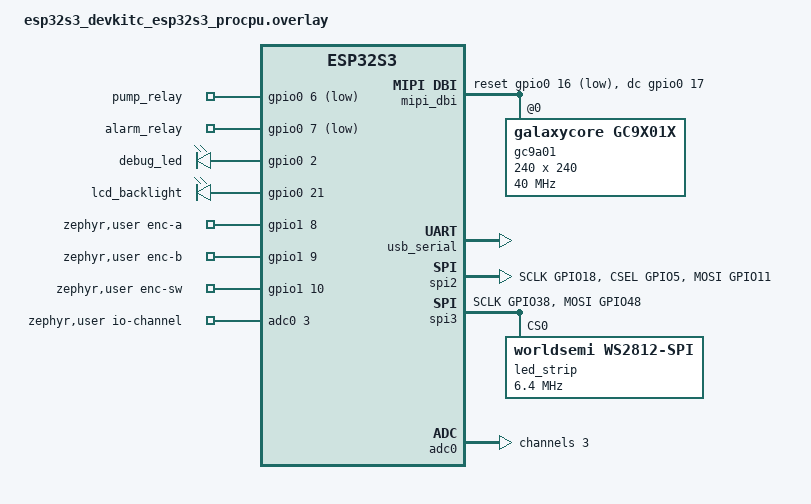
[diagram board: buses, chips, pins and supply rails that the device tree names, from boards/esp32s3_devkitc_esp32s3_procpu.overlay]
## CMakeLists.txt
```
# CNC Vacuum Pump Controller — Zephyr application
# Build against your existing workspace at /Users/robert/Documents/dev-env/zephyresp32s3
#
#   cd /Users/robert/Documents/dev-env/zephyresp32s3
#   source .venv/bin/activate
#   west build -b esp32s3_devkitc/esp32s3/procpu /Users/robert/Documents/shop-dev/shop-tools/CNC_Vac_Pump/zephyr
#
cmake_minimum_required(VERSION 3.20.0)

find_package(Zephyr REQUIRED HINTS $ENV{ZEPHYR_BASE})
project(cnc_vac_pump)

target_sources(app PRIVATE
  src/main.c
  src/vac_filter.c
  src/encoder.c
)

# --- SquareLine UI (LVGL 9 re-export) -------------------------------------
# After you re-export source/SquareLine_VacDisp for LVGL 9 into src/ui/,
# uncomment the two lines below and replace ui_placeholder() in main.c with
# ui_init().
#
# file(GLOB_RECURSE UI_SOURCES ${CMAKE_CURRENT_SOURCE_DIR}/src/ui/*.c)
# target_sources(app PRIVATE ${UI_SOURCES})
```

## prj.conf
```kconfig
# ---- CNC Vacuum Pump Controller :: Zephyr 4.4 / LVGL 9.5 ----
# NOTE: Zephyr Kconfig int/string values must NOT have trailing inline comments.

# Peripherals
CONFIG_GPIO=y
CONFIG_ADC=y
CONFIG_SPI=y

# Console over the built-in USB-Serial-JTAG (single native-USB cable)
CONFIG_SERIAL=y
CONFIG_SERIAL_ESP32_USB=y
CONFIG_CONSOLE=y
CONFIG_UART_CONSOLE=y

# Display stack: GC9A01 over MIPI-DBI-SPI
CONFIG_DISPLAY=y
CONFIG_MIPI_DBI=y
CONFIG_GC9X01X=y

# Onboard RGB LED (WS2812 on GPIO48) as a visible heartbeat
CONFIG_LED_STRIP=y
CONFIG_WS2812_STRIP_SPI=y

# N16R8 module: 16 MB flash
CONFIG_ESPTOOLPY_FLASHSIZE_16MB=y

# LVGL (Zephyr module, LVGL 9.x)
CONFIG_LVGL=y
CONFIG_LV_USE_LOG=n
CONFIG_LV_COLOR_DEPTH_16=y
# LVGL heap ~ the old lv_conf.h LV_MEM_SIZE (64 KiB)
CONFIG_LV_Z_MEM_POOL_SIZE=65536
CONFIG_LV_Z_FLUSH_THREAD=y
CONFIG_LV_USE_LABEL=y
CONFIG_LV_FONT_MONTSERRAT_14=y
# big vacuum-value readout (placeholder UI)
CONFIG_LV_FONT_MONTSERRAT_28=y

# Kernel
CONFIG_MAIN_STACK_SIZE=8192
CONFIG_HEAP_MEM_POOL_SIZE=49152
CONFIG_PRINTK=y
CONFIG_LOG=y
```

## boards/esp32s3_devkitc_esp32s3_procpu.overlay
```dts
/*
 * CNC Vacuum Pump Controller — ESP32-S3 board overlay
 *
 * Pin choices avoid the two ESP32-S3 traps that kill the original classic-ESP32
 * wiring:
 *   - GPIO22..25 DO NOT EXIST on the S3  (originally MOSI=23, encoder-B=25)
 *   - GPIO26..37 are the in-package flash/PSRAM bus on WROOM-1 modules
 *     (originally pump=26, encoder-A=32, encoder-SW=27)
 * See zephyr/README.md for the full classic -> S3 pin remap table.
 *
 * Display node models the in-tree waveshare/esp32s3_touch_lcd_1_28 board, which
 * uses the SAME GC9A01 panel over the MIPI-DBI-SPI abstraction.
 */

#include <zephyr/dt-bindings/gpio/gpio.h>
#include <zephyr/dt-bindings/adc/adc.h>
#include <zephyr/dt-bindings/display/panel.h>
#include <zephyr/dt-bindings/led/led.h>
#include <zephyr/dt-bindings/pinctrl/esp32s3-pinctrl.h>

/ {
	aliases {
		vac-pump  = &pump_relay;
		vac-alarm = &alarm_relay;
		debug-led = &debug_led;
		lcd-bl    = &lcd_backlight;
		led-strip = &led_strip;
	};

	chosen {
		zephyr,display = &gc9a01;
		/* Console on the built-in USB-Serial-JTAG so ONE native-USB cable
		 * (/dev/cu.usbmodemXXXX) carries `west flash`, `west espressif monitor`,
		 * and the console. Delete these two lines to use the DevKitC "UART" port
		 * (CP2102 -> UART0) instead. */
		zephyr,console = &usb_serial;
		zephyr,shell-uart = &usb_serial;
	};

	/* Relays are active-low (matches enum relayType{ On=0, Off=1 }). */
	relays {
		compatible = "gpio-leds";
		pump_relay:  pump  { gpios = <&gpio0 6 GPIO_ACTIVE_LOW>; };   /* was GPIO26 */
		alarm_relay: alarm { gpios = <&gpio0 7 GPIO_ACTIVE_LOW>; };   /* was GPIO21 (clashed w/ BL) */
	};

	indicators {
		compatible = "gpio-leds";
		debug_led:     dbg { gpios = <&gpio0 2  GPIO_ACTIVE_HIGH>; };
		lcd_backlight: bl  { gpios = <&gpio0 21 GPIO_ACTIVE_HIGH>; };
	};

	/* Rotary encoder + ADC channel handle for the app (polled in encoder.c). */
	zephyr,user {
		io-channels  = <&adc0 3>;                             /* GPIO4 = ADC1_CH3 */
		enc-a-gpios  = <&gpio1 8  GPIO_PULL_UP>;              /* GPIO40, was 32 */
		enc-b-gpios  = <&gpio1 9  GPIO_PULL_UP>;              /* GPIO41, was 25 */
		enc-sw-gpios = <&gpio1 10 GPIO_PULL_UP>;             /* GPIO42, was 27 */
	};

	/* GC9A01 1.28" round LCD over MIPI-DBI-SPI */
	mipi_dbi {
		compatible = "zephyr,mipi-dbi-spi";
		spi-dev = <&spi2>;
		dc-gpios    = <&gpio0 17 GPIO_ACTIVE_HIGH>;          /* DC  */
		reset-gpios = <&gpio0 16 GPIO_ACTIVE_LOW>;           /* RST */
		write-only;
		#address-cells = <1>;
		#size-cells = <0>;

		gc9a01: gc9a01@0 {
			status = "okay";
			compatible = "galaxycore,gc9x01x";
			reg = <0>;
			mipi-max-frequency = <40000000>;
			pixel-format = <PANEL_PIXEL_FORMAT_RGB_565>;
			display-inversion;                               /* GC9A01 needs inversion ON */
			width = <240>;
			height = <240>;
		};
	};
};

&gpio1 {
	status = "okay";
};

/* Built-in USB-Serial-JTAG (native USB port), used for the console above. */
&usb_serial {
	status = "okay";
};

/* SPI bus for the panel: SCLK=18, MOSI=11, CS=5.
 * NO MISO: the display is write-only, and GPIO19 (the old MISO pin) is USB_D-
 * on this board — claiming it for SPI would kill the native-USB console. */
&pinctrl {
	spim2_default: spim2_default {
		group1 {
			pinmux = <SPIM2_SCLK_GPIO18>, <SPIM2_CSEL_GPIO5>;
		};
		group2 {
			pinmux = <SPIM2_MOSI_GPIO11>;
			output-low;
		};
	};
};

&spi2 {
	status = "okay";
	#address-cells = <1>;
	#size-cells = <0>;
	pinctrl-0 = <&spim2_default>;
	pinctrl-names = "default";
	cs-gpios = <&gpio0 5 GPIO_ACTIVE_LOW>;
};

/* Onboard RGB LED (WS2812) on GPIO48, driven via SPI3 (ws2812-spi backend).
 * GPIO38 is a dummy SCLK the WS2812 ignores; only MOSI (GPIO48) carries data. */
&pinctrl {
	spim3_default: spim3_default {
		group1 {
			pinmux = <SPIM3_SCLK_GPIO38>;
		};
		group2 {
			pinmux = <SPIM3_MOSI_GPIO48>;
			output-low;
		};
	};
};

&spi3 {
	status = "okay";
	#address-cells = <1>;
	#size-cells = <0>;
	pinctrl-0 = <&spim3_default>;
	pinctrl-names = "default";
	line-idle-low;                        /* required by the WS2812 SPI driver */

	led_strip: ws2812@0 {
		compatible = "worldsemi,ws2812-spi";
		reg = <0>;
		spi-max-frequency = <6400000>;
		chain-length = <1>;
		spi-cpha;
		spi-one-frame = <0xf0>;           /* 625 ns high / 625 ns low  -> '1' */
		spi-zero-frame = <0xc0>;          /* 312 ns high / 937 ns low  -> '0' */
		color-mapping = <LED_COLOR_ID_GREEN LED_COLOR_ID_RED LED_COLOR_ID_BLUE>;
	};
};

/* This module is N16R8: 16 MB flash. */
&flash0 {
	reg = <0x0 DT_SIZE_M(16)>;
};

/* Vacuum sensor on ADC1 channel 3 (GPIO4). 12-bit, ~0..3.0V after divider. */
&adc0 {
	status = "okay";
	#address-cells = <1>;
	#size-cells = <0>;

	channel@3 {
		reg = <3>;
		zephyr,gain = "ADC_GAIN_1";
		zephyr,reference = "ADC_REF_INTERNAL";
		zephyr,acquisition-time = <ADC_ACQ_TIME_DEFAULT>;
		zephyr,resolution = <12>;
	};
};
```

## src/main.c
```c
/*
 * CNC Vacuum Pump Controller — Zephyr port (ESP32-S3 / LVGL 9.5)
 *
 * Replaces the Arduino setup()/loop() with:
 *   - a k_timer + workqueue running the 10 ms vacuum control loop, and
 *   - the LVGL handler loop driving the round display.
 *
 * The UI here is a minimal LVGL-9 PLACEHOLDER so the project builds and runs
 * before the SquareLine artwork is re-exported for LVGL 9. Once src/ui/ exists,
 * enable it in CMakeLists.txt and replace ui_placeholder()/ui_update() with
 * ui_init() plus the ui_* widget calls (needle, bugs, LED).
 */
#include <zephyr/kernel.h>
#include <zephyr/device.h>
#include <zephyr/drivers/gpio.h>
#include <zephyr/drivers/adc.h>
#include <zephyr/drivers/display.h>
#include <zephyr/drivers/led_strip.h>
#include <zephyr/logging/log.h>
#include <lvgl.h>
#include <stdio.h>

#include "vac_filter.h"
#include "app_state.h"

LOG_MODULE_REGISTER(vac, LOG_LEVEL_INF);

/* ---- Hardware handles from devicetree ---------------------------------- */
static const struct gpio_dt_spec pump  = GPIO_DT_SPEC_GET(DT_ALIAS(vac_pump),  gpios);
static const struct gpio_dt_spec alarm = GPIO_DT_SPEC_GET(DT_ALIAS(vac_alarm), gpios);
static const struct gpio_dt_spec led   = GPIO_DT_SPEC_GET(DT_ALIAS(debug_led), gpios);
static const struct gpio_dt_spec bl    = GPIO_DT_SPEC_GET(DT_ALIAS(lcd_bl),    gpios);
static const struct adc_dt_spec  vac_adc =
	ADC_DT_SPEC_GET_BY_IDX(DT_PATH(zephyr_user), 0);
static const struct device *const strip = DEVICE_DT_GET(DT_ALIAS(led_strip));

/* Latest computed vacuum value (inHg * 10), shared with the UI loop. */
static volatile int g_vac_val;

/* ---- 10 ms vacuum control loop (was the tm4 block in loop()) ------------ */
static void vac_work_handler(struct k_work *w)
{
	ARG_UNUSED(w);

	int16_t sample = 0;
	struct adc_sequence seq = {
		.buffer = &sample,
		.buffer_size = sizeof(sample),
	};

	adc_sequence_init_dt(&vac_adc, &seq);
	if (adc_read_dt(&vac_adc, &seq) != 0) {
		return;
	}

	uint16_t raw = (sample < 0) ? 0 : (uint16_t)sample;
	uint16_t filt = vac_filter_push(raw);
	if (filt > 4090) {
		filt = 4090;
	}

	/* map(filt, 0, 4090, 300, 0) -> inHg*10 */
	int vac_val = (300 * (4090 - (int)filt)) / 4090;
	g_vac_val = vac_val;

	if (vac_val <= app_red) {
		gpio_pin_set_dt(&pump, 1);   /* On  (active-low handled by DT) */
	}
	if (vac_val >= app_grn) {
		gpio_pin_set_dt(&pump, 0);   /* Off */
	}

	/* TODO: drive the alarm relay (never implemented in the original). */
}
K_WORK_DEFINE(vac_work, vac_work_handler);

static void vac_timer_fn(struct k_timer *t)
{
	ARG_UNUSED(t);
	k_work_submit(&vac_work);
}
K_TIMER_DEFINE(vac_timer, vac_timer_fn, NULL);

/* ---- Placeholder LVGL 9 UI --------------------------------------------- */
static lv_obj_t *lbl_value;
static lv_obj_t *lbl_setpoints;

static void ui_placeholder(void)
{
	lv_obj_t *scr = lv_screen_active();
	lv_obj_set_style_bg_color(scr, lv_color_black(), LV_PART_MAIN);

	lbl_value = lv_label_create(scr);
	lv_obj_set_style_text_color(lbl_value, lv_color_white(), LV_PART_MAIN);
	lv_obj_set_style_text_font(lbl_value, &lv_font_montserrat_28, LV_PART_MAIN);
	lv_obj_align(lbl_value, LV_ALIGN_CENTER, 0, -12);
	lv_label_set_text(lbl_value, "--.-");

	lbl_setpoints = lv_label_create(scr);
	lv_obj_set_style_text_color(lbl_setpoints, lv_color_hex(0x30D040), LV_PART_MAIN);
	lv_obj_align(lbl_setpoints, LV_ALIGN_CENTER, 0, 28);
	lv_label_set_text(lbl_setpoints, "R --.-  G --.-");
}

static void ui_update(void)
{
	char b[24];
	int v = g_vac_val;
	int av = (v < 0) ? -v : v;

	snprintf(b, sizeof(b), "%d.%d", v / 10, av % 10);
	lv_label_set_text(lbl_value, b);

	snprintf(b, sizeof(b), "R %d.%d  G %d.%d",
		 app_red / 10, app_red % 10, app_grn / 10, app_grn % 10);
	lv_label_set_text(lbl_setpoints, b);
}

/* ------------------------------------------------------------------------ */
int main(void)
{
	const struct device *disp = DEVICE_DT_GET(DT_CHOSEN(zephyr_display));

	if (!device_is_ready(disp)) {
		LOG_ERR("display device not ready");
		return 0;
	}
	if (!adc_is_ready_dt(&vac_adc)) {
		LOG_ERR("ADC not ready");
		return 0;
	}
	adc_channel_setup_dt(&vac_adc);

	gpio_pin_configure_dt(&pump,  GPIO_OUTPUT_INACTIVE);   /* pump Off */
	gpio_pin_configure_dt(&alarm, GPIO_OUTPUT_INACTIVE);   /* alarm Off */
	gpio_pin_configure_dt(&led,   GPIO_OUTPUT_ACTIVE);
	gpio_pin_configure_dt(&bl,    GPIO_OUTPUT_ACTIVE);      /* backlight on */

	ui_placeholder();            /* TODO: ui_init() after LVGL-9 re-export */
	lv_timer_handler();
	display_blanking_off(disp);

	encoder_start();
	k_timer_start(&vac_timer, K_MSEC(10), K_MSEC(10));

	LOG_INF("CNC Vac Pump Controller up (LVGL %d.%d.%d)",
		lv_version_major(), lv_version_minor(), lv_version_patch());

	uint32_t last_ui = 0;
	bool hb = false;

	while (1) {
		uint32_t now = k_uptime_get_32();

		if (now - last_ui >= 100) {      /* refresh readout ~10 Hz */
			last_ui = now;
			ui_update();

			/* Heartbeat: blink the onboard RGB LED green (GPIO2 has no
			 * physical LED on this board, but keep it toggling too). */
			hb = !hb;
			gpio_pin_toggle_dt(&led);
			if (device_is_ready(strip)) {
				struct led_rgb px = { .r = 0, .g = hb ? 16 : 0, .b = 0 };
				led_strip_update_rgb(strip, &px, 1);
			}
		}

		uint32_t idle = lv_timer_handler();
		if (idle < 5) {
			idle = 5;
		} else if (idle > 20) {
			idle = 20;
		}
		k_msleep(idle);
	}

	return 0;
}
```

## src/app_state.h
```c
/*
 * Shared controller state between the encoder task and the main control loop.
 * Values are in "inHg * 10" (e.g. 200 == 20.0 inHg), same convention as the
 * original Arduino firmware.
 */
#ifndef APP_STATE_H
#define APP_STATE_H

#include <stdint.h>

/* Pump-ON (red) and pump-OFF (green) setpoints. Green is always kept >= red+5
 * by the encoder task. */
extern volatile int16_t app_red;
extern volatile int16_t app_grn;

/* Start the rotary-encoder polling thread. */
void encoder_start(void);

#endif /* APP_STATE_H */
```

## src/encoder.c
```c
/*
 * Rotary-encoder task (Option B: faithful port of the original polling loop).
 *
 * Reads A/B/SW as raw levels (pull-ups enabled, idle = HIGH) exactly like the
 * Arduino digitalRead() version, counts on falling edges, and keeps the two
 * setpoint "bugs" ordered (green always >= red + 5). The button cycles the
 * active bug.
 *
 * Later you can swap this for the idiomatic gpio-qdec + gpio-keys input drivers
 * feeding an LVGL encoder indev (CONFIG_LV_Z_ENCODER_INPUT) — see README.
 */
#include <zephyr/kernel.h>
#include <zephyr/drivers/gpio.h>
#include "app_state.h"

#define RED_BUG 1
#define GRN_BUG 2
#define MAX_CNT 295
#define MIN_CNT 5

/* Shared setpoints (inHg * 10). Defaults match the original firmware. */
volatile int16_t app_red = 200;
volatile int16_t app_grn = 250;

#define ENC_NODE DT_PATH(zephyr_user)
static const struct gpio_dt_spec enc_a  = GPIO_DT_SPEC_GET(ENC_NODE, enc_a_gpios);
static const struct gpio_dt_spec enc_b  = GPIO_DT_SPEC_GET(ENC_NODE, enc_b_gpios);
static const struct gpio_dt_spec enc_sw = GPIO_DT_SPEC_GET(ENC_NODE, enc_sw_gpios);

#define ENC_STACK_SIZE 2048
#define ENC_PRIORITY   5
static K_THREAD_STACK_DEFINE(enc_stack, ENC_STACK_SIZE);
static struct k_thread enc_thread_data;

static void enc_thread(void *p1, void *p2, void *p3)
{
	ARG_UNUSED(p1);
	ARG_UNUSED(p2);
	ARG_UNUSED(p3);

	gpio_pin_configure_dt(&enc_a,  GPIO_INPUT);
	gpio_pin_configure_dt(&enc_b,  GPIO_INPUT);
	gpio_pin_configure_dt(&enc_sw, GPIO_INPUT);

	int16_t cnt = app_grn, cnt_old = app_grn;
	uint8_t active_bug = GRN_BUG;
	bool cnt_lck = false;
	int sw_old = 1;

	while (true) {
		int a  = gpio_pin_get_dt(&enc_a);   /* raw level: 1 = idle/high */
		int b  = gpio_pin_get_dt(&enc_b);
		int sw = gpio_pin_get_dt(&enc_sw);

		/* Count up on falling edge of A with B still high. */
		if (!a && b) {
			if (!cnt_lck) {
				if (cnt < MAX_CNT) {
					cnt += 5;
				}
				if (cnt > MAX_CNT) {
					cnt = MAX_CNT;
				}
				cnt_lck = true;
			}
		}

		/* Count down on falling edge of B with A still high. */
		if (a && !b) {
			if (!cnt_lck) {
				if (cnt > MIN_CNT) {
					cnt -= 5;
				}
				if (cnt < MIN_CNT) {
					cnt = MIN_CNT;
				}
				cnt_lck = true;
			}
		}

		/* Release the lockout only when both channels return high. */
		if (a && b) {
			cnt_lck = false;
		}

		/* Button press (active low) cycles the active bug. */
		if (sw == 0 && sw_old == 1) {
			if (++active_bug > GRN_BUG) {
				active_bug = RED_BUG;
				cnt = app_red;
			} else {
				cnt = app_grn;
			}
		}
		sw_old = sw;

		/* Sync counter into the active bug. */
		if (active_bug == RED_BUG) {
			app_red = cnt;
		} else {
			app_grn = cnt;
		}

		/* Push the inactive bug if the two would cross. */
		if (active_bug == RED_BUG && app_red >= app_grn) {
			app_grn = app_red + 5;
		}
		if (active_bug == GRN_BUG && app_grn <= app_red) {
			app_red = app_grn - 5;
		}

		cnt_old = cnt;
		ARG_UNUSED(cnt_old);
		k_msleep(10);
	}
}

void encoder_start(void)
{
	k_thread_create(&enc_thread_data, enc_stack, ENC_STACK_SIZE,
			enc_thread, NULL, NULL, NULL,
			ENC_PRIORITY, 0, K_NO_WAIT);
	k_thread_name_set(&enc_thread_data, "encoder");
}
```

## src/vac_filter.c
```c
#include "vac_filter.h"
#include <stdlib.h>
#include <string.h>

/* Size of the median filter and the running average, same as the original. */
#define NUM_VAC_VALUES 15
#define NUM_VAC_AVG    15

static int cmpfunc(const void *a, const void *b)
{
	uint16_t va = *(const uint16_t *)a;
	uint16_t vb = *(const uint16_t *)b;

	if (va > vb) {
		return 1;
	} else if (va == vb) {
		return 0;
	}
	return -1;
}

/*
 * A new value overwrites the oldest in a ring buffer. A sorted copy yields the
 * median (rejects "flyer" values); the median is then fed through a running
 * average to smooth it. Slow-moving vacuum values are the norm, so the added
 * latency is acceptable.
 */
uint16_t vac_filter_push(uint16_t raw)
{
	static uint16_t values_raw[NUM_VAC_VALUES];
	static uint16_t values_sorted[NUM_VAC_VALUES];
	static uint8_t  idx;
	static uint32_t avg;

	values_raw[idx] = raw;
	/* FIX: original wrapped on '> NUM_VAC_VALUES', letting idx reach 15 on a
	 * 15-element array (out-of-bounds write). Correct comparison is '>='. */
	if (++idx >= NUM_VAC_VALUES) {
		idx = 0;
	}

	memcpy(values_sorted, values_raw, sizeof(values_sorted));
	qsort(values_sorted, NUM_VAC_VALUES, sizeof(uint16_t), cmpfunc);

	avg = (avg * (NUM_VAC_AVG - 1) + values_sorted[NUM_VAC_VALUES / 2]) / NUM_VAC_AVG;
	return (uint16_t)avg;
}
```
